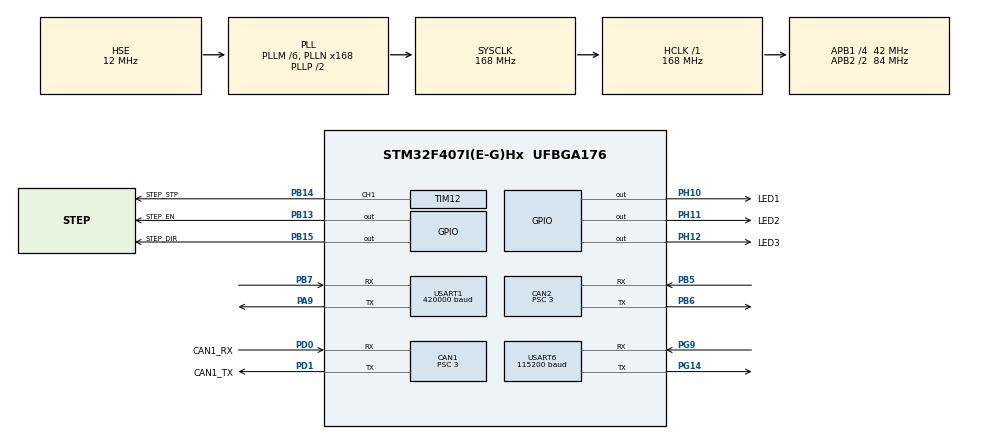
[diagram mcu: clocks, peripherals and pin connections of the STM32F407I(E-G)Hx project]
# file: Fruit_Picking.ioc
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CAN1.ABOM=ENABLE
CAN1.BS1=CAN_BS1_9TQ
CAN1.BS2=CAN_BS2_4TQ
CAN1.CalculateBaudRate=1000000
CAN1.CalculateTimeBit=1000
CAN1.CalculateTimeQuantum=71.42857142857143
CAN1.Mode=CAN_MODE_NORMAL
CAN1.NART=ENABLE
CAN1.Prescaler=3
CAN2.ABOM=ENABLE
CAN2.BS1=CAN_BS1_9TQ
CAN2.BS2=CAN_BS2_4TQ
CAN2.CalculateBaudRate=1000000
CAN2.CalculateTimeBit=1000
CAN2.CalculateTimeQuantum=71.42857142857143
CAN2.Mode=CAN_MODE_NORMAL
CAN2.NART=ENABLE
CAN2.Prescaler=3
Dma.Request0=USART1_RX
Dma.Request1=USART6_RX
Dma.USART1_RX.0.Direction=DMA_PERIPH_TO_MEMORY
Dma.USART1_RX.0.FIFOMode=DMA_FIFOMODE_DISABLE
Dma.USART1_RX.0.Instance=DMA2_Stream2
Dma.USART1_RX.0.MemDataAlignment=DMA_MDATAALIGN_BYTE
Dma.USART1_RX.0.MemInc=DMA_MINC_ENABLE
Dma.USART1_RX.0.Mode=DMA_CIRCULAR
Dma.USART1_RX.0.PeriphDataAlignment=DMA_PDATAALIGN_BYTE
Dma.USART1_RX.0.PeriphInc=DMA_PINC_DISABLE
Dma.USART1_RX.0.Priority=DMA_PRIORITY_MEDIUM
Dma.USART6_RX.1.Direction=DMA_PERIPH_TO_MEMORY
Dma.USART6_RX.1.FIFOMode=DMA_FIFOMODE_DISABLE
Dma.USART6_RX.1.Instance=DMA2_Stream1
Dma.USART6_RX.1.MemDataAlignment=DMA_MDATAALIGN_BYTE
Dma.USART6_RX.1.MemInc=DMA_MINC_ENABLE
Dma.USART6_RX.1.Mode=DMA_CIRCULAR
Dma.USART6_RX.1.PeriphDataAlignment=DMA_PDATAALIGN_BYTE
Dma.USART6_RX.1.PeriphInc=DMA_PINC_DISABLE
Dma.USART6_RX.1.Priority=DMA_PRIORITY_MEDIUM
Mcu.Family=STM32F4
Mcu.Name=STM32F407I(E-G)Hx
Mcu.Package=UFBGA176
NVIC.CAN1_RX0_IRQn=true\:5\:0\:false\:false\:true\:true\:true\:true
NVIC.CAN2_RX0_IRQn=true\:5\:0\:false\:false\:true\:true\:true\:true
NVIC.DMA2_Stream1_IRQn=true\:5\:0\:false\:false\:true\:false\:true\:true
NVIC.DMA2_Stream2_IRQn=true\:5\:0\:false\:false\:true\:false\:true\:true
NVIC.PriorityGroup=NVIC_PRIORITYGROUP_4
NVIC.TIM8_BRK_TIM12_IRQn=true\:5\:0\:false\:false\:true\:true\:true\:true
NVIC.TIM8_UP_TIM13_IRQn=true\:5\:0\:false\:false\:true\:true\:true\:true
NVIC.USART1_IRQn=true\:5\:0\:false\:false\:true\:true\:true\:true
NVIC.USART6_IRQn=true\:5\:0\:false\:false\:true\:true\:true\:true
PA13.Mode=Serial_Wire
PA13.Signal=SYS_JTMS-SWDIO
PA14.Mode=Serial_Wire
PA14.Signal=SYS_JTCK-SWCLK
PA9.Mode=Asynchronous
PA9.Signal=USART1_TX
PB13.GPIO_Label=STEP_EN
PB13.GPIO_ModeDefaultOutputPP=GPIO_MODE_OUTPUT_PP
PB13.GPIO_PuPd=GPIO_NOPULL
PB13.PinState=GPIO_PIN_SET
PB13.Signal=GPIO_Output
PB14.GPIO_Label=STEP_STP
PB14.Signal=S_TIM12_CH1
PB15.GPIO_Label=STEP_DIR
PB15.GPIO_ModeDefaultOutputPP=GPIO_MODE_OUTPUT_PP
PB15.GPIO_PuPd=GPIO_NOPULL
PB15.PinState=GPIO_PIN_SET
PB15.Signal=GPIO_Output
PB5.Mode=CAN_Activate
PB5.Signal=CAN2_RX
PB6.Mode=CAN_Activate
PB6.Signal=CAN2_TX
PB7.Mode=Asynchronous
PB7.Signal=USART1_RX
PD0.GPIO_Label=CAN1_RX
PD0.Mode=CAN_Activate
PD0.Signal=CAN1_RX
PD1.GPIO_Label=CAN1_TX
PD1.Mode=CAN_Activate
PD1.Signal=CAN1_TX
PG14.Mode=Asynchronous
PG14.Signal=USART6_TX
PG9.Mode=Asynchronous
PG9.Signal=USART6_RX
PH0-OSC_IN.Mode=HSE-External-Oscillator
PH0-OSC_IN.Signal=RCC_OSC_IN
PH1-OSC_OUT.Mode=HSE-External-Oscillator
PH1-OSC_OUT.Signal=RCC_OSC_OUT
PH10.GPIO_Label=LED1
PH10.Signal=GPIO_Output
PH11.GPIO_Label=LED2
PH11.Signal=GPIO_Output
PH12.GPIO_Label=LED3
PH12.Signal=GPIO_Output
ProjectManager.HeapSize=0x200
ProjectManager.StackSize=0x400
ProjectManager.TargetToolchain=CMake
RCC.48MHZClocksFreq_Value=48000000
RCC.AHBFreq_Value=168000000
RCC.APB1CLKDivider=RCC_HCLK_DIV4
RCC.APB1Freq_Value=42000000
RCC.APB1TimFreq_Value=84000000
RCC.APB2CLKDivider=RCC_HCLK_DIV2
RCC.APB2Freq_Value=84000000
RCC.APB2TimFreq_Value=168000000
RCC.CortexFreq_Value=168000000
RCC.HCLKFreq_Value=168000000
RCC.HSE_VALUE=12000000
RCC.HSI_VALUE=16000000
RCC.LSE_VALUE=32768
RCC.PLLM=6
RCC.PLLN=168
RCC.PLLQ=7
RCC.PLLSourceVirtual=RCC_PLLSOURCE_HSE
RCC.SYSCLKFreq_VALUE=168000000
RCC.SYSCLKSource=RCC_SYSCLKSOURCE_PLLCLK
RCC.VCOOutputFreq_Value=336000000
SH.S_TIM12_CH1.0=TIM12_CH1,PWM Generation1 CH1
TIM12.AutoReloadPreload=TIM_AUTORELOAD_PRELOAD_ENABLE
TIM12.Channel-PWM\ Generation1\ CH1=TIM_CHANNEL_1
TIM12.OCPolarity_1=TIM_OCPOLARITY_LOW
TIM12.Period=999
TIM12.Prescaler=83
TIM12.Pulse-PWM\ Generation1\ CH1=0
TIM8.Period=999
TIM8.Prescaler=167
USART1.BaudRate=420000
USART1.VirtualMode=VM_ASYNC
USART6.BaudRate=115200
USART6.VirtualMode=VM_ASYNC
VP_TIM12_VS_ClockSourceINT.Mode=Internal
VP_TIM8_VS_ClockSourceINT.Mode=Internal
board=custom

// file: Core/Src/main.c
/* USER CODE BEGIN Header */
/**
  ******************************************************************************
  * @file           : main.c
  * @brief          : Main program body
  ******************************************************************************
  * @attention
  *
  * Copyright (c) 2026 STMicroelectronics.
  * All rights reserved.
  *
  * This software is licensed under terms that can be found in the LICENSE file
  * in the root directory of this software component.
  * If no LICENSE file comes with this software, it is provided AS-IS.
  *
  ******************************************************************************
  */
/* USER CODE END Header */
#include "main.h"
#include "can.h"
#include "dma.h"
#include "tim.h"
#include "usart.h"
#include "gpio.h"

/* USER CODE BEGIN Includes */
#include "BareMetal.h"
#include "Binary_Protocol.h"
#include "ELRS_DMA.h"
/* USER CODE END Includes */

void SystemClock_Config(void);

int main(void)
{

  /* MCU Configuration--------------------------------------------------------*/

  /* Reset of all peripherals, Initializes the Flash interface and the Systick. */
  HAL_Init();

  /* Configure the system clock */
  SystemClock_Config();

  /* Initialize all configured peripherals */
  MX_GPIO_Init();
  MX_DMA_Init();
  MX_CAN1_Init();
  MX_CAN2_Init();
  MX_USART1_UART_Init();
  MX_USART6_UART_Init();
  MX_TIM8_Init();
  MX_TIM12_Init();
  /* USER CODE BEGIN 2 */
  /* 电机、遥控全部初始化完成后，才放开 TIM8 的 1kHz 控制节拍（见 UserModules/Task/BareMetal.c）。 */
  if (BareMetal_Init() != HAL_OK)
  {
    Error_Handler();
  }
  /* USER CODE END 2 */

  /* Infinite loop */
  while (1)
  {

    /* USER CODE BEGIN 3 */
    BareMetal_MainLoop();
  }
  /* USER CODE END 3 */
}

void SystemClock_Config(void)
{
  RCC_OscInitTypeDef RCC_OscInitStruct = {0};
  RCC_ClkInitTypeDef RCC_ClkInitStruct = {0};

  /** Configure the main internal regulator output voltage
  */
  __HAL_RCC_PWR_CLK_ENABLE();
  __HAL_PWR_VOLTAGESCALING_CONFIG(PWR_REGULATOR_VOLTAGE_SCALE1);

  /** Initializes the RCC Oscillators according to the specified parameters
  * in the RCC_OscInitTypeDef structure.
  */
  RCC_OscInitStruct.OscillatorType = RCC_OSCILLATORTYPE_HSE;
  RCC_OscInitStruct.HSEState = RCC_HSE_ON;
  RCC_OscInitStruct.PLL.PLLState = RCC_PLL_ON;
  RCC_OscInitStruct.PLL.PLLSource = RCC_PLLSOURCE_HSE;
  RCC_OscInitStruct.PLL.PLLM = 6;
  RCC_OscInitStruct.PLL.PLLN = 168;
  RCC_OscInitStruct.PLL.PLLP = RCC_PLLP_DIV2;
  RCC_OscInitStruct.PLL.PLLQ = 7;
  if (HAL_RCC_OscConfig(&RCC_OscInitStruct) != HAL_OK)
  {
    Error_Handler();
  }

  /** Initializes the CPU, AHB and APB buses clocks
  */
  RCC_ClkInitStruct.ClockType = RCC_CLOCKTYPE_HCLK|RCC_CLOCKTYPE_SYSCLK
                              |RCC_CLOCKTYPE_PCLK1|RCC_CLOCKTYPE_PCLK2;
  RCC_ClkInitStruct.SYSCLKSource = RCC_SYSCLKSOURCE_PLLCLK;
  RCC_ClkInitStruct.AHBCLKDivider = RCC_SYSCLK_DIV1;
  RCC_ClkInitStruct.APB1CLKDivider = RCC_HCLK_DIV4;
  RCC_ClkInitStruct.APB2CLKDivider = RCC_HCLK_DIV2;

  if (HAL_RCC_ClockConfig(&RCC_ClkInitStruct, FLASH_LATENCY_5) != HAL_OK)
  {
    Error_Handler();
  }
}

/* USER CODE BEGIN 4 */
/*
 * 所有原生中断（HAL 回调）都集中在这里。回调本身不做业务，
 * 只负责转交给对应驱动或 BareMetal；TIM8 就是 1kHz 控制节拍本身。
 */

void HAL_CAN_RxFifo0MsgPendingCallback(CAN_HandleTypeDef *hcan)
{
  CAN_RxHeaderTypeDef header;
  uint8_t data[8];

  /* 哪一路都要先把这一帧读走：不读的话 FIFO 一直非空，中断会反复进，主循环就跑不动了。 */
  if (CAN_Bus_ReadFifo0(hcan, &header, data) != HAL_OK)
  {
    return;
  }

  if (hcan->Instance == CAN1)
  {
    DJI_MotorManager_ProcessRxFrame(&chassis_motor_manager, &header, data);
  }
  else if (hcan->Instance == CAN2)
  {
    /* 同一帧交给两个驱动：大疆只认标准帧（升降 3508），RS05 只认扩展帧。 */
    DJI_MotorManager_ProcessRxFrame(&arm_motor_manager, &header, data);
    RS05_ProcessRxFrame(&rs05_manager, &header, data);
  }
}

void HAL_UARTEx_RxEventCallback(UART_HandleTypeDef *huart, uint16_t Size)
{
  if (huart->Instance == USART1)
  {
    /* 空闲中断 / DMA 满一圈：只记 DMA 写到了哪，解析留给主循环。 */
    ELRS_DMA_UpdateSize(huart, Size);
  }
  else if (huart->Instance == USART6)
  {
    /* 机械臂节点：同样只记事件，解析在主循环的 BinaryProtocol_Task。 */
    BinaryProtocol_RxEventCallback(huart, Size);
  }
}

void HAL_UART_ErrorCallback(UART_HandleTypeDef *huart)
{
  if (huart->Instance == USART1)
  {
    /* DMA 接收时 HAL 遇到任何错误都会停掉接收；这里只做标记，由 ELRS_DMA_Process 重启。 */
    ELRS_DMA_HandleError(huart);
  }
  else if (huart->Instance == USART6)
  {
    /* 只做标记，由主循环的 BinaryProtocol_Task 重启接收。 */
    BinaryProtocol_ErrorCallback(huart);
  }
}

void HAL_TIM_PeriodElapsedCallback(TIM_HandleTypeDef *htim)
{
  if (htim->Instance == TIM8)
  {
    /* 1kHz 控制节拍：判遥控 → 解算 → 速度环 → CAN 电流帧。 */
    BareMetal_ControlTick();
  }
}
/* USER CODE END 4 */

void Error_Handler(void)
{
  __disable_irq();
  while (1)
  {
  }
}
